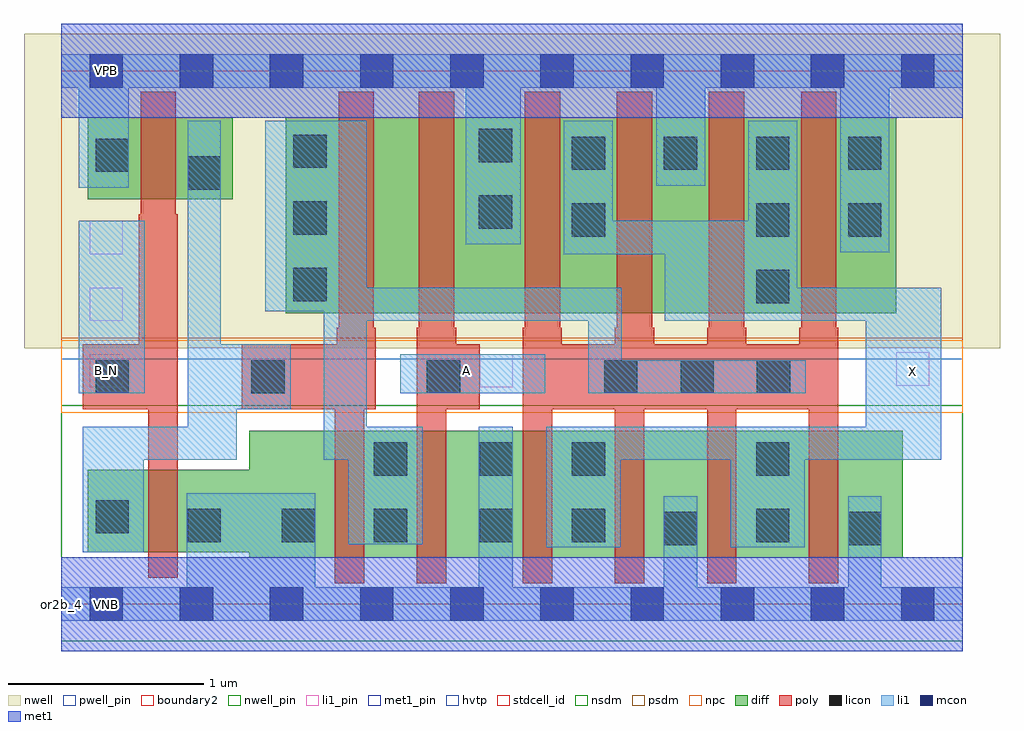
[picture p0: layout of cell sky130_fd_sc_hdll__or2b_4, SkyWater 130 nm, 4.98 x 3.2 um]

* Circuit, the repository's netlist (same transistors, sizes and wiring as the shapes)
* Copyright 2020 The SkyWater PDK Authors
*
* Licensed under the Apache License, Version 2.0 (the "License");
* you may not use this file except in compliance with the License.
* You may obtain a copy of the License at
*
*     https://www.apache.org/licenses/LICENSE-2.0
*
* Unless required by applicable law or agreed to in writing, software
* distributed under the License is distributed on an "AS IS" BASIS,
* WITHOUT WARRANTIES OR CONDITIONS OF ANY KIND, either express or implied.
* See the License for the specific language governing permissions and
* limitations under the License.
*
* SPDX-License-Identifier: Apache-2.0

.SUBCKT sky130_fd_sc_hdll__or2b_4 A B_N VGND VNB VPB VPWR X
*.PININFO A:I B_N:I VGND:I VNB:I VPB:I VPWR:I X:O
MMP0 VPWR A sndPA VPB sky130_fd_pr__pfet_01v8_hvt m=1 w=1.0U l=0.18U mult=1 sa=0.265
+ sb=0.265 sd=0.28 area=0.063 perim=1.14
MMP1 sndPA B y VPB sky130_fd_pr__pfet_01v8_hvt m=1 w=1.0U l=0.18U mult=1 sa=0.265
+ sb=0.265 sd=0.28 area=0.063 perim=1.14
MMIP1 B B_N VPWR VPB sky130_fd_pr__pfet_01v8_hvt m=1 w=0.42U l=0.18U mult=1 sa=0.265
+ sb=0.265 sd=0.28 area=0.063 perim=1.14
MMIP2 X y VPWR VPB sky130_fd_pr__pfet_01v8_hvt m=4 w=1.0U l=0.18U mult=1 sa=0.265
+ sb=0.265 sd=0.28 area=0.063 perim=1.14
MMN0 y A VGND VNB sky130_fd_pr__nfet_01v8 m=1 w=0.65U l=0.15U mult=1 sa=0.265 sb=0.265
+ sd=0.28 area=0.063 perim=1.14
MMN1 y B VGND VNB sky130_fd_pr__nfet_01v8 m=1 w=0.65U l=0.15U mult=1 sa=0.265 sb=0.265
+ sd=0.28 area=0.063 perim=1.14
MMIN1 B B_N VGND VNB sky130_fd_pr__nfet_01v8 m=1 w=0.42U l=0.15U mult=1 sa=0.265
+ sb=0.265 sd=0.28 area=0.063 perim=1.14
MMIN2 X y VGND VNB sky130_fd_pr__nfet_01v8 m=4 w=0.65U l=0.15U mult=1 sa=0.265
+ sb=0.265 sd=0.28 area=0.063 perim=1.14
.ENDS sky130_fd_sc_hdll__or2b_4

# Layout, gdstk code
import gdstk
lib = gdstk.Library(unit=1e-6, precision=1e-09)
def R(c, l, rs):  # rectangles x0, y0, x1, y1
    for r in rs: c.add(gdstk.rectangle(r[:2], r[2:], *l))
def A(c, l, x, y, w, h, nx, ny, dx, dy):  # array of equal rectangles
    R(c, l, [(x+i*dx, y+j*dy, x+i*dx+w, y+j*dy+h) for i in range(nx) for j in range(ny)])
def P(c, l, *ps):  # polygons
    for p in ps: c.add(gdstk.Polygon(p, *l))
nwell_pin = (64, 16)
nwell = (64, 20)
diff = (65, 20)
poly = (66, 20)
licon = (66, 44)
li1_pin = (67, 16)
li1 = (67, 20)
mcon = (67, 44)
met1_pin = (68, 16)
met1 = (68, 20)
hvtp = (78, 44)
stdcell_id = (81, 4)
nsdm = (93, 44)
psdm = (94, 20)
npc = (95, 20)
pwell_pin = (122, 16)
boundary2 = (236, 0)

sky130_fd_sc_hdll__or2b_ = lib.new_cell('sky130_fd_sc_hdll__or2b_4')
R(sky130_fd_sc_hdll__or2b_, nwell_pin, [(0.145,2.635,0.315,2.805)])
R(sky130_fd_sc_hdll__or2b_, nwell, [(-0.19,1.305,4.79,2.91)])
R(sky130_fd_sc_hdll__or2b_, diff, [(1.145,1.485,4.26,2.485), (0.135,2.065,0.875,2.485)])
P(sky130_fd_sc_hdll__or2b_, diff, [(4.295,0.885),(0.96,0.885),(0.96,0.685),(0.135,0.685),(0.135,0.265),(0.96,0.265),(0.96,0.235),(4.295,0.235)])
P(sky130_fd_sc_hdll__or2b_, poly, [(0.595,1.99),(0.585,1.99),(0.585,2.615),(0.405,2.615),(0.405,1.99),(0.395,1.99),(0.395,1.325),(0.11,1.325),(0.11,0.995),(0.445,0.995),(0.445,0.135),(0.595,0.135)],
  [(1.605,1.41),(1.595,1.41),(1.595,2.615),(1.415,2.615),(1.415,1.41),(1.405,1.41),(1.405,1.325),(0.92,1.325),(0.92,0.995),(1.395,0.995),(1.395,0.105),(1.545,0.105),(1.545,0.995),(1.605,0.995)],
  [(2.135,1.325),(2.015,1.325),(2.015,1.41),(2.005,1.41),(2.005,2.615),(1.825,2.615),(1.825,1.41),(1.815,1.41),(1.815,0.105),(1.965,0.105),(1.965,0.995),(2.135,0.995)],
  [(3.965,1.41),(3.955,1.41),(3.955,2.615),(3.775,2.615),(3.775,1.41),(3.765,1.41),(3.765,1.325),(3.495,1.325),(3.495,1.41),(3.485,1.41),(3.485,2.615),(3.305,2.615),(3.305,1.41),(3.295,1.41),(3.295,1.325),(3.025,1.325),(3.025,1.41),(3.015,1.41),(3.015,2.615),(2.835,2.615),(2.835,1.41),(2.825,1.41),(2.825,1.325),(2.555,1.325),(2.555,1.41),(2.545,1.41),(2.545,2.615),(2.365,2.615),(2.365,1.41),(2.355,1.41),(2.355,0.105),(2.505,0.105),(2.505,0.995),(2.825,0.995),(2.825,0.105),(2.975,0.105),(2.975,0.995),(3.295,0.995),(3.295,0.105),(3.445,0.105),(3.445,0.995),(3.815,0.995),(3.815,0.105),(3.965,0.105)])
A(sky130_fd_sc_hdll__or2b_, licon, 2.77, 1.075, 0.17, 0.17, 3, 1, 0.39, 0)
A(sky130_fd_sc_hdll__or2b_, licon, 1.185, 1.545, 0.17, 0.17, 1, 3, 0, 0.34)
A(sky130_fd_sc_hdll__or2b_, licon, 2.605, 2.215, 0.17, 0.17, 4, 1, 0.47, 0)
R(sky130_fd_sc_hdll__or2b_, licon, [(3.075,0.3,3.245,0.47), (4.015,0.3,4.185,0.47), (0.645,0.315,0.815,0.485), (1.125,0.315,1.295,0.485), (1.595,0.315,1.765,0.485), (2.135,0.315,2.305,0.485), (2.605,0.315,2.775,0.485), (3.545,0.315,3.715,0.485), (0.175,0.36,0.345,0.53), (1.595,0.655,1.765,0.825), (2.135,0.655,2.305,0.825), (2.605,0.655,2.775,0.825), (3.545,0.655,3.715,0.825), (0.175,1.075,0.345,1.245), (0.97,1.075,1.14,1.245), (1.865,1.075,2.035,1.245), (3.545,1.535,3.715,1.705), (2.605,1.875,2.775,2.045), (3.545,1.875,3.715,2.045), (4.015,1.875,4.185,2.045), (2.13,1.915,2.3,2.085), (0.645,2.115,0.815,2.285), (0.175,2.205,0.345,2.375), (2.13,2.255,2.3,2.425)])
A(sky130_fd_sc_hdll__or2b_, li1_pin, 0.145, 1.105, 0.17, 0.17, 1, 3, 0, 0.34)
R(sky130_fd_sc_hdll__or2b_, li1_pin, [(2.135,1.105,2.305,1.275), (4.26,1.115,4.43,1.285)])
R(sky130_fd_sc_hdll__or2b_, li1, [(0.09,1.075,0.425,1.955), (1.73,1.075,2.47,1.275)])
P(sky130_fd_sc_hdll__or2b_, li1, [(4.6,0.085),(4.185,0.085),(4.185,0.55),(4.015,0.55),(4.015,0.085),(3.245,0.085),(3.245,0.55),(3.075,0.55),(3.075,0.085),(2.305,0.085),(2.305,0.905),(2.13,0.905),(2.13,0.085),(1.295,0.085),(1.295,0.565),(0.64,0.565),(0.64,0.085),(0,0.085),(0,-0.085),(4.6,-0.085)],
  [(4.6,2.805),(0,2.805),(0,2.635),(0.09,2.635),(0.09,2.125),(0.345,2.125),(0.345,2.635),(2.065,2.635),(2.065,1.835),(2.345,1.835),(2.345,2.635),(3.035,2.635),(3.035,2.135),(3.285,2.135),(3.285,2.635),(3.975,2.635),(3.975,1.795),(4.225,1.795),(4.225,2.635),(4.6,2.635)],
  [(1.17,1.325),(0.815,1.325),(0.815,2.465),(0.645,2.465),(0.645,0.905),(0.11,0.905),(0.11,0.265),(0.42,0.265),(0.42,0.735),(0.895,0.735),(0.895,0.995),(1.17,0.995)],
  [(3.8,1.245),(2.86,1.245),(2.86,1.615),(1.56,1.615),(1.56,2.465),(1.04,2.465),(1.04,1.495),(1.34,1.495),(1.34,0.735),(1.465,0.735),(1.465,0.305),(1.845,0.305),(1.845,0.905),(1.56,0.905),(1.56,1.445),(2.69,1.445),(2.69,1.075),(3.8,1.075)],
  [(4.49,1.615),(3.755,1.615),(3.755,2.465),(3.505,2.465),(3.505,1.955),(2.815,1.955),(2.815,2.465),(2.565,2.465),(2.565,1.785),(3.08,1.785),(3.08,1.445),(4.105,1.445),(4.105,0.905),(2.475,0.905),(2.475,0.29),(2.855,0.29),(2.855,0.735),(3.415,0.735),(3.415,0.29),(3.795,0.29),(3.795,0.735),(4.49,0.735)])
A(sky130_fd_sc_hdll__or2b_, mcon, 0.145, -0.085, 0.17, 0.17, 10, 2, 0.46, 2.72)
R(sky130_fd_sc_hdll__or2b_, met1_pin, [(0.145,-0.085,0.315,0.085), (0.145,2.635,0.315,2.805)])
R(sky130_fd_sc_hdll__or2b_, met1, [(0,-0.24,4.6,0.24), (0,2.48,4.6,2.96)])
R(sky130_fd_sc_hdll__or2b_, hvtp, [(0,1.25,4.6,2.72)])
R(sky130_fd_sc_hdll__or2b_, stdcell_id, [(0,0,4.6,2.72)])
R(sky130_fd_sc_hdll__or2b_, nsdm, [(0,-0.19,4.6,1.015)])
R(sky130_fd_sc_hdll__or2b_, psdm, [(0,1.355,4.6,2.91)])
R(sky130_fd_sc_hdll__or2b_, npc, [(0,0.975,4.6,1.345)])
R(sky130_fd_sc_hdll__or2b_, pwell_pin, [(0.145,-0.085,0.315,0.085)])
R(sky130_fd_sc_hdll__or2b_, boundary2, [(0,0,4.6,2.72)])
sky130_fd_sc_hdll__or2b_.add(gdstk.Label('A', (2.07,1.19), layer=67, texttype=5))
sky130_fd_sc_hdll__or2b_.add(gdstk.Label('B_N', (0.23,1.19), layer=67, texttype=5))
sky130_fd_sc_hdll__or2b_.add(gdstk.Label('X', (4.345,1.185), layer=67, texttype=5))
sky130_fd_sc_hdll__or2b_.add(gdstk.Label('VNB', (0.23,0), layer=64, texttype=59))
sky130_fd_sc_hdll__or2b_.add(gdstk.Label('VPB', (0.23,2.72), layer=64, texttype=5))
sky130_fd_sc_hdll__or2b_.add(gdstk.Label('VGND', (0.23,0), layer=68, texttype=5))
sky130_fd_sc_hdll__or2b_.add(gdstk.Label('VPWR', (0.23,2.72), layer=68, texttype=5))
sky130_fd_sc_hdll__or2b_.add(gdstk.Label('or2b_4', (0,0), layer=83, texttype=44))

lib.write_gds('sky130_fd_sc_hdll__or2b_4.gds')
